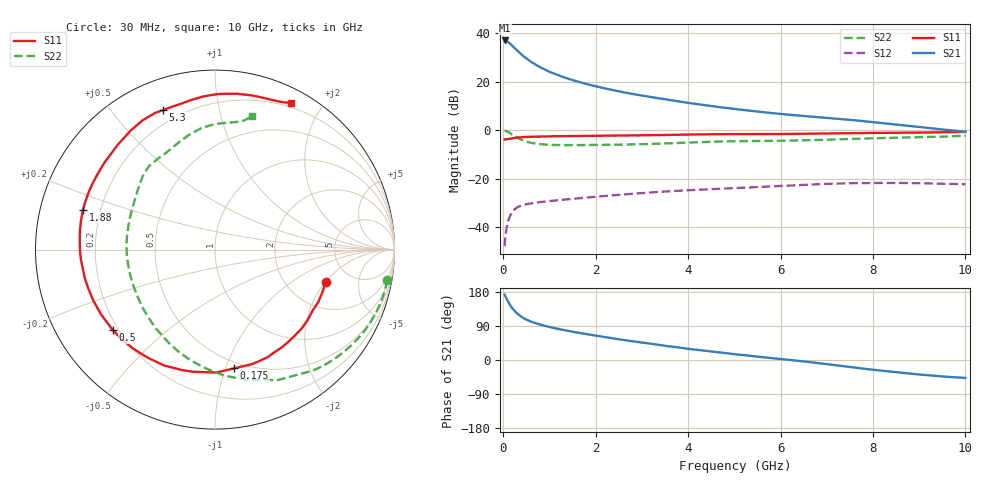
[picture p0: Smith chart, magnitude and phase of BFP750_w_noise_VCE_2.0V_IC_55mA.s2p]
! Infineon Technologies  Discrete & RF Semiconductors
! BFP750
! VCE =  2.0 V,  IC =  55 mA
! Common Emitter S-Parameters:  Jan 2016
# GHz  S  MA  R  50
!  f  S11  S21  S12  S22
! GHz  MAG  ANG  MAG  ANG  MAG  ANG  MAG  ANG
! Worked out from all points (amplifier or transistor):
!   229 points, 30 MHz to 10 GHz, reference 50 ohm
!   highest |S21| = 36.9 dB at 30 MHz (marker M1)
!   |S21| within 3 dB of that: start of sweep to 240 MHz
!   unconditionally stable (mu >= 1): 3.782 GHz to end of sweep
!   at 280 MHz: K = 0.17, MSG = 32.6 dB, |S12| = -32.1 dB
!   at 1.78 GHz: K = 0.72, MSG = 23.4 dB, |S12| = -27.8 dB
!   at 10 GHz: K = 1.06, MAG = 9.4 dB, |S12| = -22.3 dB
!   lowest NFmin = 1.08 dB at 450 MHz
!   S11 on the Smith chart (normalised r, x): 30 MHz: 3.27, -2.01; 175 MHz: 0.45, -1.07; 500 MHz: 0.18, -0.34; 1.88 GHz: 0.13, +0.15; 5.3 GHz: 0.14, +0.69; 10 GHz: 0.15, +1.63
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0.03  0.6429 -16.3  70.01 172.5  0.0041 82.7  0.9745 -10.1
0.05  0.6454 -27.1  69.64 166.9  0.0067 79.2  0.9699 -17.5
0.08  0.6532 -42.6  67.52 160.0  0.0105 72.5  0.9485 -28.3
0.1  0.6568 -51.6  65.49 155.2  0.0126 68.2  0.928 -35.1
0.15  0.6705 -72.2  59.99 144.7  0.0174 59.6  0.8686 -50.7
0.175  0.6702 -80.8  56.81 140.5  0.0192 55.7  0.8318 -57.2
0.2  0.6849 -89.3  53.98 135.8  0.021 52.4  0.8067 -64.3
0.3  0.7052 -113.8  43.58 122.7  0.0256 42.3  0.7015 -86.3
0.4  0.7162 -130.1  35.66 113.4  0.0283 36.0  0.6288 -103.1
0.5  0.7249 -141.8  29.85 106.6  0.03 32.0  0.5808 -116.2
0.7  0.7349 -157.4  22.24 96.9  0.0322 27.8  0.5287 -135.2
0.9  0.7427 -167.8  17.61 89.9  0.0339 25.9  0.5057 -148.4
1.2  0.7519 -179.2  13.34 81.6  0.0362 24.7  0.4935 -162.5
1.7  0.7647 167.2  9.449 70.3  0.0402 23.7  0.4922 -178.3
1.88  0.7681 163.1  8.515 66.6  0.0416 23.4  0.4938 177.1
2.6  0.7769 148.4  6.013 52.9  0.0474 21.3  0.5044 161.1
3.4  0.7927 134.5  4.451 39.4  0.0538 17.6  0.5284 147.3
5.1  0.8305 112.7  2.662 14.2  0.0651 8.4  0.5931 127.2
5.3  0.8299 110.4  2.531 11.6  0.0664 7.1  0.5949 124.9
6.8  0.8503 96.2  1.86 -7.9  0.0769 -3.0  0.6283 109.1
8.4  0.882 77.4  1.336 -31.0  0.0821 -18.3  0.6957 91.3
10  0.9203 62.7  0.929 -47.3  0.0771 -29.7  0.7712 74.4
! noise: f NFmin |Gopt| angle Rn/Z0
0.45  1.08  0.19  -168  0.47
0.9  1.11  0.25  -161  0.24
1.5  1.13  0.36  -155  0.09
1.9  1.14  0.39  -150  0.08
2.4  1.15  0.4  -143  0.09
3.5  1.38  0.41  -127  0.1
